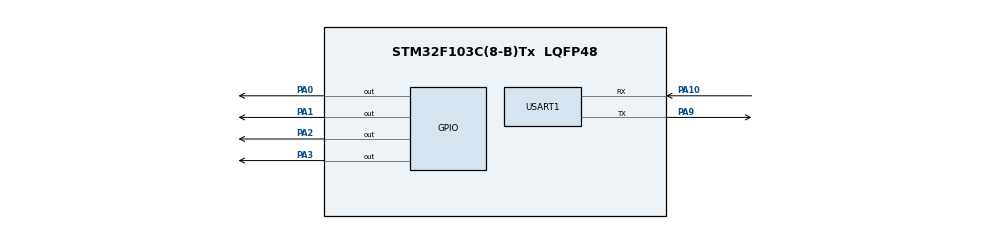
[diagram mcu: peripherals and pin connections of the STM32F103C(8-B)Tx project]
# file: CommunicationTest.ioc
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Dma.Request0=USART1_TX
Dma.Request1=USART1_RX
Dma.USART1_RX.1.Direction=DMA_PERIPH_TO_MEMORY
Dma.USART1_RX.1.Instance=DMA1_Channel5
Dma.USART1_RX.1.MemDataAlignment=DMA_MDATAALIGN_BYTE
Dma.USART1_RX.1.MemInc=DMA_MINC_ENABLE
Dma.USART1_RX.1.Mode=DMA_NORMAL
Dma.USART1_RX.1.PeriphDataAlignment=DMA_PDATAALIGN_BYTE
Dma.USART1_RX.1.PeriphInc=DMA_PINC_DISABLE
Dma.USART1_RX.1.Priority=DMA_PRIORITY_LOW
Dma.USART1_TX.0.Direction=DMA_MEMORY_TO_PERIPH
Dma.USART1_TX.0.Instance=DMA1_Channel4
Dma.USART1_TX.0.MemDataAlignment=DMA_MDATAALIGN_BYTE
Dma.USART1_TX.0.MemInc=DMA_MINC_ENABLE
Dma.USART1_TX.0.Mode=DMA_NORMAL
Dma.USART1_TX.0.PeriphDataAlignment=DMA_PDATAALIGN_BYTE
Dma.USART1_TX.0.PeriphInc=DMA_PINC_DISABLE
Dma.USART1_TX.0.Priority=DMA_PRIORITY_LOW
Mcu.Family=STM32F1
Mcu.Name=STM32F103C(8-B)Tx
Mcu.Package=LQFP48
NVIC.DMA1_Channel4_IRQn=true\:0\:0\:false\:false\:true\:false\:true\:true
NVIC.DMA1_Channel5_IRQn=true\:0\:0\:false\:false\:true\:false\:true\:true
NVIC.PriorityGroup=NVIC_PRIORITYGROUP_4
NVIC.USART1_IRQn=true\:0\:0\:false\:false\:true\:true\:true\:true
PA0-WKUP.Signal=GPIO_Output
PA1.Signal=GPIO_Output
PA10.Mode=Asynchronous
PA10.Signal=USART1_RX
PA13.Mode=Serial_Wire
PA13.Signal=SYS_JTMS-SWDIO
PA14.Mode=Serial_Wire
PA14.Signal=SYS_JTCK-SWCLK
PA2.Signal=GPIO_Output
PA3.Signal=GPIO_Output
PA9.Mode=Asynchronous
PA9.Signal=USART1_TX
ProjectManager.HeapSize=0x200
ProjectManager.StackSize=0x400
ProjectManager.TargetToolchain=MDK-ARM V5
RCC.APB1Freq_Value=8000000
RCC.APB2Freq_Value=8000000
USART1.VirtualMode=VM_ASYNC
board=custom

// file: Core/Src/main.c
/* USER CODE BEGIN Header */
/**
  ******************************************************************************
  * @file           : main.c
  * @brief          : Main program body
  ******************************************************************************
  * @attention
  *
  * Copyright (c) 2022 STMicroelectronics.
  * All rights reserved.
  *
  * This software is licensed under terms that can be found in the LICENSE file
  * in the root directory of this software component.
  * If no LICENSE file comes with this software, it is provided AS-IS.
  *
  ******************************************************************************
  */
/* USER CODE END Header */
#include "main.h"

/* USER CODE BEGIN Includes */
#include "led.h"
#include "package_handle.h"
/* USER CODE END Includes */

/* USER CODE BEGIN PTD */

typedef enum{
	ID_GET = 0,
	ID_SET,
	LED_GET,
	LED_SET,
}func_enumerate;

typedef struct{
	struct Package_Typedef* COMprocess;
	char SystemLED[2];
	char ID[6];
}System_Typedef;

/* USER CODE END PTD */

 UART_HandleTypeDef huart1;
DMA_HandleTypeDef hdma_usart1_tx;
DMA_HandleTypeDef hdma_usart1_rx;

/* USER CODE BEGIN PV */
struct LED* myLED;
System_Typedef* my_System;
void (*func_enum[5])(System_Typedef*);

/* USER CODE END PV */

void SystemClock_Config(void);
static void MX_GPIO_Init(void);
static void MX_DMA_Init(void);
static void MX_USART1_UART_Init(void);
/* USER CODE BEGIN PFP */
System_Typedef* System_Ctor(void);
void ID_update(System_Typedef* me);
void ID_feedback(System_Typedef* me);
void LED_update(System_Typedef* me);
void LED_feedback(System_Typedef* me);
void doing_nothing(System_Typedef* me);
packageState_Typedef _LEDset(struct Package_Typedef *me);

/* USER CODE END PFP */

int main(void)
{

  /* MCU Configuration--------------------------------------------------------*/

  /* Reset of all peripherals, Initializes the Flash interface and the Systick. */
  HAL_Init();

  /* Configure the system clock */
  SystemClock_Config();

  /* Initialize all configured peripherals */
  MX_GPIO_Init();
  MX_DMA_Init();
  MX_USART1_UART_Init();
  /* USER CODE BEGIN 2 */

	//my_Package = Package_Ctor();
	myLED = Led_ctor();
	my_System = System_Ctor();
	func_enum[0] = ID_feedback;
	func_enum[1] = ID_update;
	func_enum[2] = LED_feedback;
	func_enum[3] = LED_update;
	func_enum[4] = doing_nothing;
	HAL_UARTEx_ReceiveToIdle_DMA(&huart1, (uint8_t*)(my_System->COMprocess->receive_package), 50);
	__HAL_DMA_DISABLE_IT(&hdma_usart1_rx, DMA_IT_HT);
  /* USER CODE END 2 */

  /* Infinite loop */
  /* USER CODE BEGIN WHILE */
  while (1)
  {
		if(my_System->COMprocess->mode < 4) {
			func_enum[my_System->COMprocess->mode](my_System);
			Package_seal(my_System->COMprocess);
			HAL_UART_Transmit_DMA(&huart1, (uint8_t*)my_System->COMprocess->response_package, strlen(my_System->COMprocess->response_package));
			my_System->COMprocess->mode = 4;
		}

    /* USER CODE END WHILE */

  }
}

void SystemClock_Config(void)
{
  RCC_OscInitTypeDef RCC_OscInitStruct = {0};
  RCC_ClkInitTypeDef RCC_ClkInitStruct = {0};

  /** Initializes the RCC Oscillators according to the specified parameters
  * in the RCC_OscInitTypeDef structure.
  */
  RCC_OscInitStruct.OscillatorType = RCC_OSCILLATORTYPE_HSI;
  RCC_OscInitStruct.HSIState = RCC_HSI_ON;
  RCC_OscInitStruct.HSICalibrationValue = RCC_HSICALIBRATION_DEFAULT;
  RCC_OscInitStruct.PLL.PLLState = RCC_PLL_NONE;
  if (HAL_RCC_OscConfig(&RCC_OscInitStruct) != HAL_OK)
  {
    Error_Handler();
  }

  /** Initializes the CPU, AHB and APB buses clocks
  */
  RCC_ClkInitStruct.ClockType = RCC_CLOCKTYPE_HCLK|RCC_CLOCKTYPE_SYSCLK
                              |RCC_CLOCKTYPE_PCLK1|RCC_CLOCKTYPE_PCLK2;
  RCC_ClkInitStruct.SYSCLKSource = RCC_SYSCLKSOURCE_HSI;
  RCC_ClkInitStruct.AHBCLKDivider = RCC_SYSCLK_DIV1;
  RCC_ClkInitStruct.APB1CLKDivider = RCC_HCLK_DIV1;
  RCC_ClkInitStruct.APB2CLKDivider = RCC_HCLK_DIV1;

  if (HAL_RCC_ClockConfig(&RCC_ClkInitStruct, FLASH_LATENCY_0) != HAL_OK)
  {
    Error_Handler();
  }
}

static void MX_USART1_UART_Init(void)
{

  huart1.Instance = USART1;
  huart1.Init.BaudRate = 115200;
  huart1.Init.WordLength = UART_WORDLENGTH_8B;
  huart1.Init.StopBits = UART_STOPBITS_1;
  huart1.Init.Parity = UART_PARITY_NONE;
  huart1.Init.Mode = UART_MODE_TX_RX;
  huart1.Init.HwFlowCtl = UART_HWCONTROL_NONE;
  huart1.Init.OverSampling = UART_OVERSAMPLING_16;
  if (HAL_UART_Init(&huart1) != HAL_OK)
  {
    Error_Handler();
  }

}

static void MX_DMA_Init(void)
{

  /* DMA controller clock enable */
  __HAL_RCC_DMA1_CLK_ENABLE();

  /* DMA interrupt init */
  /* DMA1_Channel4_IRQn interrupt configuration */
  HAL_NVIC_SetPriority(DMA1_Channel4_IRQn, 0, 0);
  HAL_NVIC_EnableIRQ(DMA1_Channel4_IRQn);
  /* DMA1_Channel5_IRQn interrupt configuration */
  HAL_NVIC_SetPriority(DMA1_Channel5_IRQn, 0, 0);
  HAL_NVIC_EnableIRQ(DMA1_Channel5_IRQn);

}

static void MX_GPIO_Init(void)
{
  GPIO_InitTypeDef GPIO_InitStruct = {0};

  /* GPIO Ports Clock Enable */
  __HAL_RCC_GPIOA_CLK_ENABLE();

  /*Configure GPIO pin Output Level */
  HAL_GPIO_WritePin(GPIOA, GPIO_PIN_0|GPIO_PIN_1|GPIO_PIN_2|GPIO_PIN_3, GPIO_PIN_RESET);

  /*Configure GPIO pins : PA0 PA1 PA2 PA3 */
  GPIO_InitStruct.Pin = GPIO_PIN_0|GPIO_PIN_1|GPIO_PIN_2|GPIO_PIN_3;
  GPIO_InitStruct.Mode = GPIO_MODE_OUTPUT_PP;
  GPIO_InitStruct.Pull = GPIO_NOPULL;
  GPIO_InitStruct.Speed = GPIO_SPEED_FREQ_LOW;
  HAL_GPIO_Init(GPIOA, &GPIO_InitStruct);

}

/* USER CODE BEGIN 4 */
packageState_Typedef _LEDset(struct Package_Typedef *me){
		me->mode = 3;
		me->status= OK;
		char* pointer;
		pointer = strtok(NULL, ":");
		pointer = strtok(NULL, ",");

		int ref = 0;
		if ((*pointer - '0') == 1) me->buffer[ref++] = 1;
		if ((*pointer - '0') == 0) me->buffer[ref++] = 0;
		if ((*pointer - '0') == 2) me->buffer[ref++] = 2;
		if ((*pointer - '0') == 3) me->buffer[ref++] = 3;
		pointer = strtok(NULL, ",");
		me->buffer[ref] = (*pointer - '0');
		return OK;
}

System_Typedef* System_Ctor(void){
	System_Typedef* me;
	me = (System_Typedef*)malloc(sizeof(System_Typedef));
	me->COMprocess = Package_Ctor();
	me->COMprocess->vptr->_LEDset = _LEDset;
	me->COMprocess->func_pointer[LED_SET] = me->COMprocess->vptr->_LEDset;
	memset(me->SystemLED, 0, 2);
	memset(me->ID, '0', 6);
	return me;
}

void ID_update(System_Typedef* me){
	strcpy(me->ID, me->COMprocess->buffer);
}
void ID_feedback(System_Typedef* me)
{
	strcpy(me->COMprocess->buffer,me->ID);
}
void LED_update(System_Typedef* me)
{
	myLED->cur_pin = (Led_Color_Typedef)me->COMprocess->buffer[0];
	Led_setState(myLED, (Led_State_Typedef)me->COMprocess->buffer[1]);
}
void LED_feedback(System_Typedef* me){
	const char state[2] = {Led_getState(myLED, (Led_Color_Typedef)me->COMprocess->buffer[0]) + '0', '\0'};
	const char Led_pins[2] = {myLED->cur_pin + '0', '\0'};
	memset(me->COMprocess->buffer, 0,50);
	strcpy(me->COMprocess->buffer, "+LED:");
	strcat(me->COMprocess->buffer, Led_pins);
	strcat(me->COMprocess->buffer, ",");
	strcat(me->COMprocess->buffer, state);
}
void doing_nothing(System_Typedef* me){
	__nop();
}

void HAL_UARTEx_RxEventCallback(UART_HandleTypeDef *huart, uint16_t Size){
	//HAL_UARTEx_ReceiveToIdle_DMA(&huart1, (uint8_t*)((struct Package_Typedef*)my_System)->receive_package, 50);
	HAL_UARTEx_ReceiveToIdle_DMA(&huart1, (uint8_t*)(my_System->COMprocess->receive_package), 50);
	__HAL_DMA_DISABLE_IT(&hdma_usart1_rx, DMA_IT_HT);
	Package_unfold(my_System->COMprocess);
	memset(my_System->COMprocess->receive_package, 0, 50);
	//memset(my_System->COMprocess->buffer, 0, 50);
	memset(my_System->COMprocess->response_package, 0, 100);
}

void HAL_UART_ErrorCallback(UART_HandleTypeDef *huart){
	HAL_UART_DeInit(&huart1);
	HAL_UART_Init(&huart1);
	HAL_UARTEx_ReceiveToIdle_DMA(&huart1, (uint8_t*)(my_System->COMprocess->receive_package), 50);
	__HAL_DMA_DISABLE_IT(&hdma_usart1_rx, DMA_IT_HT);
}
/* USER CODE END 4 */

void Error_Handler(void)
{
  __disable_irq();
  while (1)
  {
  }
}
